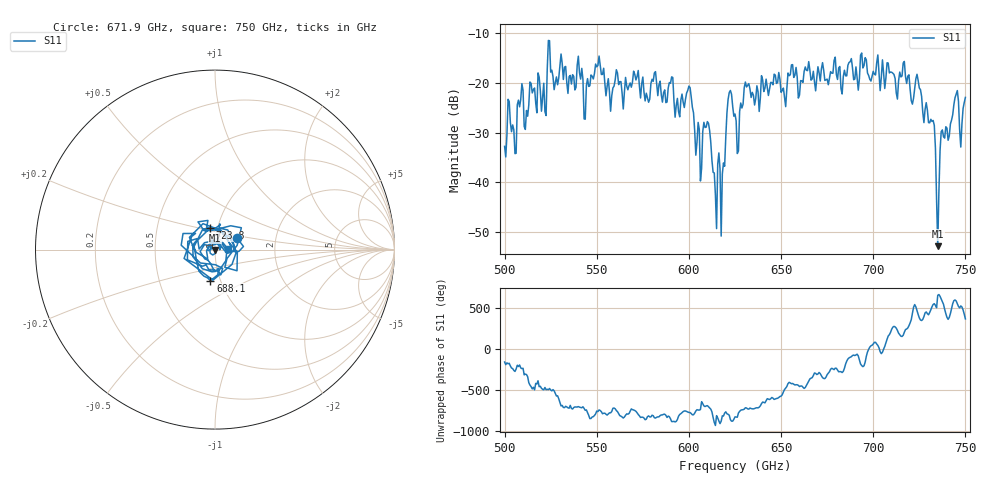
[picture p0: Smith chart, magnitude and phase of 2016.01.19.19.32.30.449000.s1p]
!Created with skrf (http://scikit-rf.org).
# GHz S RI R 50.0
!freq ReS11 ImS11
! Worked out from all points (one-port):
!   401 points, 500 GHz to 750 GHz, reference 50 ohm
!   lowest |S11| = -52.9 dB at 735 GHz (marker M1), VSWR 1.00, Z = 50.1 - j0.212 ohm
!   |S11| at or under -10 dB: start of sweep to end of sweep
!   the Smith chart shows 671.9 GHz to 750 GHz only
!   S11 on the Smith chart (normalised r, x): 671.9 GHz: 1.26, +0.17; 688.1 GHz: 0.90, -0.32; 723.8 GHz: 0.92, +0.22; 750 GHz: 1.15, +0.01
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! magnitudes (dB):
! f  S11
! 500 GHz  -32.8
! 508.8 GHz  -23.3
! 511.9 GHz  -25.6
! 515 GHz  -22.0
! 521.2 GHz  -20.1
! 524.4 GHz  -11.5
! 531.2 GHz  -16.1
! 562.5 GHz  -19.8
! 590 GHz  -20.1
! 593.8 GHz  -23.1
! 600 GHz  -20.7
! 605.6 GHz  -29.4
! 610 GHz  -27.8
! 616.2 GHz  -34.1
! 618.8 GHz  -36.1
! 621.9 GHz  -21.9
! 625 GHz  -26.3
! 631.2 GHz  -20.8
! 656.2 GHz  -16.3
! 671.9 GHz  -17.2
! 687.5 GHz  -15.8
! 688.1 GHz  -15.1
! 718.8 GHz  -18.7
! 723.8 GHz  -18.3
! 732.5 GHz  -27.6
! 735 GHz  -52.9
! 738.1 GHz  -30.8
! 750 GHz  -22.9
